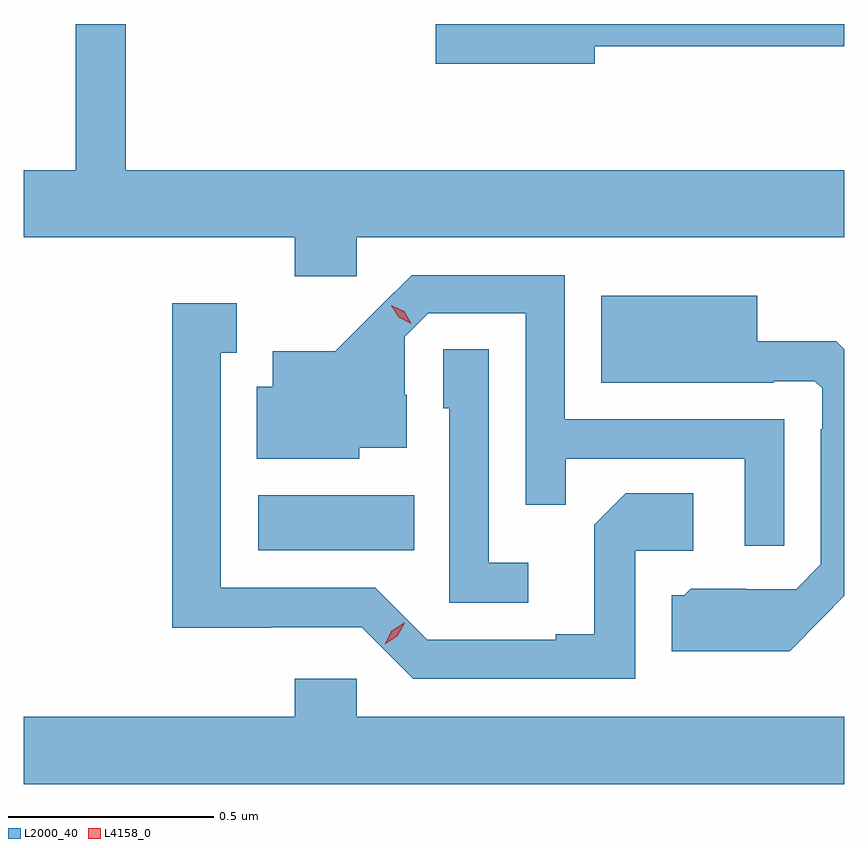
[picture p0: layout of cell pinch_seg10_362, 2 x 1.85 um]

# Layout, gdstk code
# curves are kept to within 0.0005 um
import gdstk
lib = gdstk.Library(unit=1e-6, precision=1e-09)
def R(c, l, rs):  # rectangles x0, y0, x1, y1
    for r in rs: c.add(gdstk.rectangle(r[:2], r[2:], *l))
def P(c, l, *ps):  # polygons
    for p in ps: c.add(gdstk.Polygon(p, *l))
L2000_40 = (2000, 40)
L4158_0 = (4158, 0)

pinch_seg10_362 = lib.new_cell('pinch_seg10_362')
R(pinch_seg10_362, L2000_40, [(411.102,1270.25,411.482,1270.384)])
P(pinch_seg10_362, L2000_40, [(411.342,1271.012),(412.53,1271.012),(412.53,1271.176),(410.779,1271.176),(410.779,1271.532),(410.657,1271.532),(410.657,1271.176),(410.53,1271.176),(410.53,1271.012),(411.191,1271.012),(411.191,1270.917),(411.342,1270.917)],
  [(411.922,1271.478),(412.53,1271.478),(412.53,1271.532),(411.534,1271.532),(411.534,1271.435),(411.922,1271.435)],
  [(412.383,1270.569),(411.849,1270.569),(411.849,1270.92),(411.476,1270.92),(411.289,1270.735),(411.137,1270.735),(411.137,1270.648),(411.098,1270.648),(411.098,1270.472),(411.348,1270.472),(411.348,1270.499),(411.463,1270.499),(411.463,1270.628),(411.459,1270.628),(411.459,1270.77),(411.516,1270.827),(411.753,1270.827),(411.753,1270.36),(411.851,1270.36),(411.851,1270.473),(412.287,1270.473),(412.287,1270.26),(412.383,1270.26)],
  [(412.477,1270.085),(412.53,1270.139),(412.53,1270.739),(412.51,1270.759),(412.318,1270.759),(412.318,1270.87),(411.938,1270.87),(411.938,1270.658),(412.358,1270.658),(412.358,1270.662),(412.458,1270.662),(412.476,1270.644),(412.476,1270.544),(412.473,1270.544),(412.473,1270.215),(412.413,1270.155),(412.29,1270.155),(412.29,1270.156),(412.156,1270.156),(412.14,1270.14),(412.109,1270.14),(412.109,1270.004),(412.397,1270.004)],
  [(412.02,1270.248),(412.162,1270.248),(412.162,1270.388),(411.997,1270.388),(411.921,1270.312),(411.921,1270.045),(411.827,1270.045),(411.827,1270.032),(411.513,1270.032),(411.387,1270.158),(411.01,1270.158),(411.01,1270.731),(411.049,1270.731),(411.049,1270.852),(410.892,1270.852),(410.892,1270.061),(411.132,1270.061),(411.132,1270.062),(411.354,1270.062),(411.48,1269.936),(412.02,1269.936)],
  [(411.76,1270.219),(411.663,1270.219),(411.663,1270.739),(411.552,1270.739),(411.552,1270.596),(411.567,1270.596),(411.567,1270.122),(411.76,1270.122)],
  [(412.53,1269.844),(411.342,1269.844),(411.342,1269.937),(411.191,1269.937),(411.191,1269.844),(410.53,1269.844),(410.53,1269.68),(412.53,1269.68)])
P(pinch_seg10_362, L4158_0, [(411.475,1270.802),(411.444,1270.817),(411.426,1270.846),(411.426,1270.847),(411.426,1270.847),(411.457,1270.832),(411.475,1270.802),(411.475,1270.802)],
  [(411.41,1270.021),(411.41,1270.021),(411.427,1270.054),(411.458,1270.073),(411.459,1270.073),(411.459,1270.073),(411.441,1270.04),(411.41,1270.021)])

lib.write_gds('pinch_seg10_362.gds')
